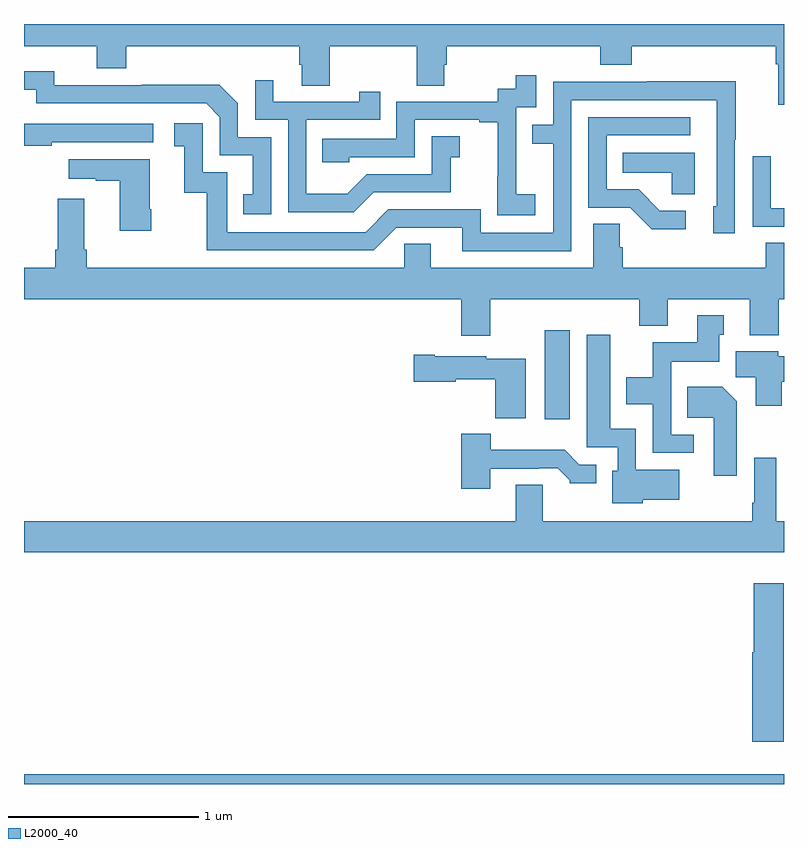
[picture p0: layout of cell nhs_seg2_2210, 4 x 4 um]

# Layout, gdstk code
import gdstk
lib = gdstk.Library(unit=1e-6, precision=1e-09)
def R(c, l, rs):  # rectangles x0, y0, x1, y1
    for r in rs: c.add(gdstk.rectangle(r[:2], r[2:], *l))
def P(c, l, *ps):  # polygons
    for p in ps: c.add(gdstk.Polygon(p, *l))
L2000_40 = (2000, 40)

nhs_seg2_2210 = lib.new_cell('nhs_seg2_2210')
R(nhs_seg2_2210, L2000_40, [(227,595.8,231,595.852), (229.742,597.72,229.873,598.189)])
P(nhs_seg2_2210, L2000_40, [(231,599.8),(227,599.8),(227,599.684),(227.384,599.684),(227.384,599.567),(227.537,599.567),(227.537,599.684),(228.449,599.684),(228.449,599.586),(228.461,599.586),(228.461,599.476),(228.609,599.476),(228.609,599.684),(229.066,599.684),(229.066,599.476),(229.213,599.476),(229.213,599.586),(229.226,599.586),(229.226,599.684),(230.033,599.684),(230.033,599.585),(230.198,599.585),(230.198,599.684),(230.957,599.684),(230.957,599.588),(230.969,599.588),(230.969,599.375),(231,599.375)],
  [(228.3,599.205),(228.126,599.205),(228.126,599.382),(228.028,599.48),(227.62,599.48),(227.62,599.478),(227.16,599.478),(227.16,599.551),(227,599.551),(227,599.454),(227.064,599.454),(227.064,599.382),(227.958,599.382),(228.03,599.31),(228.03,599.109),(228.203,599.109),(228.203,598.905),(228.154,598.905),(228.154,598.8),(228.3,598.8)],
  [(229.69,598.903),(229.592,598.903),(229.592,599.132),(229.59,599.132),(229.59,599.361),(229.695,599.361),(229.695,599.53),(229.587,599.53),(229.587,599.46),(229.494,599.46),(229.494,599.391),(228.96,599.391),(228.96,599.196),(228.571,599.196),(228.571,599.073),(228.711,599.073),(228.711,599.1),(229.056,599.1),(229.056,599.295),(229.397,599.295),(229.397,599.283),(229.493,599.283),(229.493,598.999),(229.492,598.999),(229.492,598.793),(229.69,598.793)],
  [(228.841,598.914),(229.245,598.914),(229.245,599.099),(229.294,599.099),(229.294,599.209),(229.146,599.209),(229.146,599.01),(228.804,599.01),(228.7,598.906),(228.486,598.906),(228.486,599.295),(228.875,599.295),(228.875,599.443),(228.764,599.443),(228.764,599.391),(228.313,599.391),(228.313,599.503),(228.216,599.503),(228.216,599.295),(228.39,599.295),(228.39,598.809),(228.736,598.809)],
  [(229.881,599.4),(230.646,599.4),(230.646,598.842),(230.627,598.842),(230.627,598.698),(230.742,598.698),(230.742,599.191),(230.745,599.191),(230.745,599.498),(230.281,599.498),(230.281,599.496),(229.785,599.496),(229.785,599.271),(229.675,599.271),(229.675,599.17),(229.785,599.17),(229.785,598.701),(229.404,598.701),(229.404,598.824),(228.918,598.824),(228.798,598.704),(228.069,598.704),(228.069,599.019),(227.94,599.019),(227.94,599.278),(227.79,599.278),(227.79,599.157),(227.843,599.157),(227.843,598.911),(227.961,598.911),(227.961,598.608),(228.84,598.608),(228.96,598.728),(229.307,598.728),(229.307,598.605),(229.881,598.605)],
  [(230.482,598.818),(230.347,598.818),(230.236,598.929),(230.067,598.929),(230.067,599.214),(230.506,599.214),(230.506,599.31),(229.971,599.31),(229.971,598.833),(230.19,598.833),(230.303,598.721),(230.482,598.721)],
  [(227.147,599.178),(227.68,599.178),(227.68,599.274),(227,599.274),(227,599.158),(227.147,599.158)],
  [(230.53,599.122),(230.152,599.122),(230.152,599.018),(230.409,599.018),(230.409,598.903),(230.53,598.903)],
  [(231,598.83),(230.931,598.83),(230.931,599.104),(230.835,599.104),(230.835,598.734),(231,598.734)],
  [(227.67,598.825),(227.662,598.825),(227.662,599.089),(227.235,599.089),(227.235,598.985),(227.378,598.985),(227.378,598.975),(227.504,598.975),(227.504,598.713),(227.67,598.713)],
  [(227.177,598.879),(227.177,598.612),(227.165,598.612),(227.165,598.516),(227,598.516),(227,598.352),(229.301,598.352),(229.301,598.158),(229.453,598.158),(229.453,598.352),(230.237,598.352),(230.237,598.211),(230.389,598.211),(230.389,598.352),(230.819,598.352),(230.819,598.163),(230.972,598.163),(230.972,598.352),(231,598.352),(231,598.649),(230.903,598.649),(230.903,598.516),(230.15,598.516),(230.15,598.625),(230.136,598.625),(230.136,598.748),(229.997,598.748),(229.997,598.516),(229.141,598.516),(229.141,598.643),(229.002,598.643),(229.002,598.516),(227.33,598.516),(227.33,598.612),(227.317,598.612),(227.317,598.879)],
  [(230.524,597.639),(230.406,597.639),(230.406,598.022),(230.659,598.022),(230.659,598.164),(230.683,598.164),(230.683,598.267),(230.543,598.267),(230.543,598.126),(230.308,598.126),(230.308,597.94),(230.171,597.94),(230.171,597.8),(230.31,597.8),(230.31,597.543),(230.524,597.543)],
  [(230.256,597.296),(230.449,597.296),(230.449,597.454),(230.22,597.454),(230.22,597.67),(230.086,597.67),(230.086,598.165),(229.961,598.165),(229.961,597.573),(230.124,597.573),(230.124,597.45),(230.096,597.45),(230.096,597.278),(230.256,597.278)],
  [(230.987,597.917),(231,597.917),(231,598.051),(230.97,598.051),(230.97,598.078),(230.747,598.078),(230.747,597.94),(230.852,597.94),(230.852,597.792),(230.987,597.792)],
  [(229.642,598.039),(229.434,598.039),(229.434,598.051),(229.162,598.051),(229.162,598.059),(229.05,598.059),(229.05,597.917),(229.272,597.917),(229.272,597.929),(229.48,597.929),(229.48,597.725),(229.642,597.725)],
  [(230.752,597.814),(230.674,597.892),(230.491,597.892),(230.491,597.728),(230.63,597.728),(230.63,597.423),(230.752,597.423)],
  [(229.453,597.459),(229.709,597.459),(229.709,597.462),(229.808,597.462),(229.872,597.398),(229.872,597.383),(230.011,597.383),(230.011,597.48),(229.923,597.48),(229.845,597.559),(229.456,597.559),(229.456,597.643),(229.301,597.643),(229.301,597.354),(229.453,597.354)],
  [(231,597.184),(230.96,597.184),(230.96,597.517),(230.844,597.517),(230.844,597.28),(230.832,597.28),(230.832,597.184),(229.729,597.184),(229.729,597.374),(229.589,597.374),(229.589,597.184),(227,597.184),(227,597.02),(231,597.02)],
  [(230.998,596.857),(230.84,596.857),(230.84,596.493),(230.834,596.493),(230.834,596.022),(230.998,596.022)])

lib.write_gds('nhs_seg2_2210.gds')
